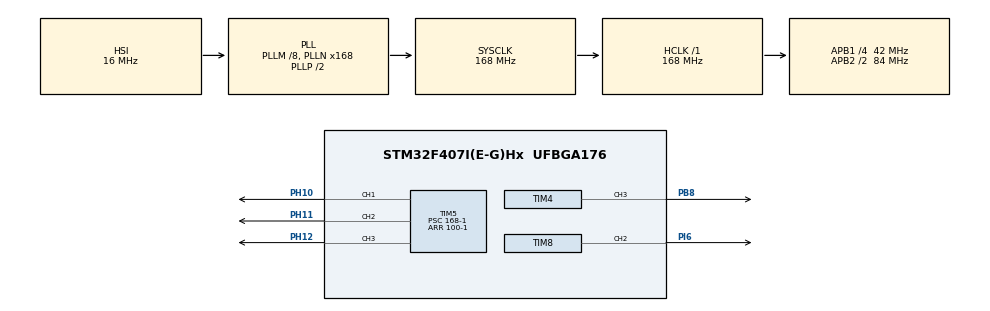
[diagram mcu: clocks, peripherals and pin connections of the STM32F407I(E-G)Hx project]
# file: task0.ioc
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FREERTOS.Tasks01=defaultTask,0,128,StartDefaultTask,Default,NULL,Dynamic,NULL,NULL;servoTask,0,512,servo_task,As external,NULL,Dynamic,NULL,NULL;lestask,-3,512,led_task,As external,NULL,Dynamic,NULL,NULL;motortask,0,512,motor_task,As external,NULL,Dynamic,NULL,NULL
Mcu.Family=STM32F4
Mcu.Name=STM32F407I(E-G)Hx
Mcu.Package=UFBGA176
NVIC.PriorityGroup=NVIC_PRIORITYGROUP_4
NVIC.TIM1_UP_TIM10_IRQn=true\:15\:0\:false\:false\:true\:false\:false\:true\:true
NVIC.TimeBase=TIM1_UP_TIM10_IRQn
NVIC.TimeBaseIP=TIM1
PA13.Mode=Serial_Wire
PA13.Signal=SYS_JTMS-SWDIO
PA14.Mode=Serial_Wire
PA14.Signal=SYS_JTCK-SWCLK
PB8.Signal=S_TIM4_CH3
PH0-OSC_IN.Mode=HSE-External-Oscillator
PH0-OSC_IN.Signal=RCC_OSC_IN
PH1-OSC_OUT.Mode=HSE-External-Oscillator
PH1-OSC_OUT.Signal=RCC_OSC_OUT
PH10.Signal=S_TIM5_CH1
PH11.Signal=S_TIM5_CH2
PH12.Signal=S_TIM5_CH3
PI6.Signal=S_TIM8_CH2
ProjectManager.HeapSize=0x200
ProjectManager.StackSize=0x400
ProjectManager.TargetToolchain=CMake
RCC.48MHZClocksFreq_Value=84000000
RCC.AHBFreq_Value=168000000
RCC.APB1CLKDivider=RCC_HCLK_DIV4
RCC.APB1Freq_Value=42000000
RCC.APB1TimFreq_Value=84000000
RCC.APB2CLKDivider=RCC_HCLK_DIV2
RCC.APB2Freq_Value=84000000
RCC.APB2TimFreq_Value=168000000
RCC.CortexFreq_Value=168000000
RCC.HCLKFreq_Value=168000000
RCC.HSE_VALUE=12000000
RCC.HSI_VALUE=16000000
RCC.PLLM=8
RCC.PLLN=168
RCC.SYSCLKFreq_VALUE=168000000
RCC.SYSCLKSource=RCC_SYSCLKSOURCE_PLLCLK
RCC.VCOOutputFreq_Value=336000000
SH.S_TIM4_CH3.0=TIM4_CH3,PWM Generation3 CH3
SH.S_TIM5_CH1.0=TIM5_CH1,PWM Generation1 CH1
SH.S_TIM5_CH2.0=TIM5_CH2,PWM Generation2 CH2
SH.S_TIM5_CH3.0=TIM5_CH3,PWM Generation3 CH3
SH.S_TIM8_CH2.0=TIM8_CH2,PWM Generation2 CH2
TIM4.Channel-PWM\ Generation3\ CH3=TIM_CHANNEL_3
TIM4.Period=500-1
TIM4.Prescaler=168-1
TIM5.Channel-PWM\ Generation1\ CH1=TIM_CHANNEL_1
TIM5.Channel-PWM\ Generation2\ CH2=TIM_CHANNEL_2
TIM5.Channel-PWM\ Generation3\ CH3=TIM_CHANNEL_3
TIM5.Period=100-1
TIM5.Prescaler=168-1
TIM8.Channel-PWM\ Generation2\ CH2=TIM_CHANNEL_2
TIM8.Period=2000-1
TIM8.Prescaler=1680-1
VP_FREERTOS_VS_CMSIS_V1.Mode=CMSIS_V1
VP_SYS_VS_tim1.Mode=TIM1
VP_TIM4_VS_ClockSourceINT.Mode=Internal
VP_TIM5_VS_ClockSourceINT.Mode=Internal
VP_TIM8_VS_ClockSourceINT.Mode=Internal
board=custom

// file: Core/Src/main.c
/* USER CODE BEGIN Header */
/**
  ******************************************************************************
  * @file           : main.c
  * @brief          : Main program body
  ******************************************************************************
  * @attention
  *
  * Copyright (c) 2025 STMicroelectronics.
  * All rights reserved.
  *
  * This software is licensed under terms that can be found in the LICENSE file
  * in the root directory of this software component.
  * If no LICENSE file comes with this software, it is provided AS-IS.
  *
  ******************************************************************************
  */
/* USER CODE END Header */
#include "main.h"
#include "cmsis_os.h"
#include "tim.h"
#include "gpio.h"

void SystemClock_Config(void);
void MX_FREERTOS_Init(void);

int main(void)
{

  /* MCU Configuration--------------------------------------------------------*/

  /* Reset of all peripherals, Initializes the Flash interface and the Systick. */
  HAL_Init();

  /* Configure the system clock */
  SystemClock_Config();

  /* Initialize all configured peripherals */
  MX_GPIO_Init();
  MX_TIM4_Init();
  MX_TIM5_Init();
  MX_TIM8_Init();
  /* USER CODE BEGIN 2 */

  HAL_TIM_PWM_Start(&htim4, TIM_CHANNEL_3);
  __HAL_TIM_SET_COMPARE(&htim4, TIM_CHANNEL_3, 500 / 5);
  HAL_Delay(200);
  __HAL_TIM_SET_COMPARE(&htim4, TIM_CHANNEL_3, 0);

  /* USER CODE END 2 */

  /* Call init function for freertos objects (in cmsis_os2.c) */
  MX_FREERTOS_Init();

  /* Start scheduler */
  osKernelStart();

  /* We should never get here as control is now taken by the scheduler */

  /* Infinite loop */
  while (1)
  {

  }
}

void SystemClock_Config(void)
{
  RCC_OscInitTypeDef RCC_OscInitStruct = {0};
  RCC_ClkInitTypeDef RCC_ClkInitStruct = {0};

  /** Configure the main internal regulator output voltage
  */
  __HAL_RCC_PWR_CLK_ENABLE();
  __HAL_PWR_VOLTAGESCALING_CONFIG(PWR_REGULATOR_VOLTAGE_SCALE1);

  /** Initializes the RCC Oscillators according to the specified parameters
  * in the RCC_OscInitTypeDef structure.
  */
  RCC_OscInitStruct.OscillatorType = RCC_OSCILLATORTYPE_HSI;
  RCC_OscInitStruct.HSIState = RCC_HSI_ON;
  RCC_OscInitStruct.HSICalibrationValue = RCC_HSICALIBRATION_DEFAULT;
  RCC_OscInitStruct.PLL.PLLState = RCC_PLL_ON;
  RCC_OscInitStruct.PLL.PLLSource = RCC_PLLSOURCE_HSI;
  RCC_OscInitStruct.PLL.PLLM = 8;
  RCC_OscInitStruct.PLL.PLLN = 168;
  RCC_OscInitStruct.PLL.PLLP = RCC_PLLP_DIV2;
  RCC_OscInitStruct.PLL.PLLQ = 4;
  if (HAL_RCC_OscConfig(&RCC_OscInitStruct) != HAL_OK)
  {
    Error_Handler();
  }

  /** Initializes the CPU, AHB and APB buses clocks
  */
  RCC_ClkInitStruct.ClockType = RCC_CLOCKTYPE_HCLK|RCC_CLOCKTYPE_SYSCLK
                              |RCC_CLOCKTYPE_PCLK1|RCC_CLOCKTYPE_PCLK2;
  RCC_ClkInitStruct.SYSCLKSource = RCC_SYSCLKSOURCE_PLLCLK;
  RCC_ClkInitStruct.AHBCLKDivider = RCC_SYSCLK_DIV1;
  RCC_ClkInitStruct.APB1CLKDivider = RCC_HCLK_DIV4;
  RCC_ClkInitStruct.APB2CLKDivider = RCC_HCLK_DIV2;

  if (HAL_RCC_ClockConfig(&RCC_ClkInitStruct, FLASH_LATENCY_5) != HAL_OK)
  {
    Error_Handler();
  }
}

/* USER CODE BEGIN 4 */

/* USER CODE BEGIN 4 */

void set_note_frequency(uint32_t freq) {
    uint32_t arr = (1000000 / freq) - 1;
    __HAL_TIM_SET_AUTORELOAD(&htim4, arr);
    __HAL_TIM_SET_COMPARE(&htim4, TIM_CHANNEL_3, 500 / 5);
}

void play_song1(void) {
    set_note_frequency(554); osDelay(400);
    set_note_frequency(622); osDelay(400);
    set_note_frequency(494); osDelay(400);
    set_note_frequency(494); osDelay(800);
    set_note_frequency(392); osDelay(400);
    set_note_frequency(494); osDelay(400);
    set_note_frequency(440); osDelay(400);
    set_note_frequency(415); osDelay(400);
    set_note_frequency(440); osDelay(400);
    set_note_frequency(415); osDelay(400);
    set_note_frequency(415); osDelay(800);
}

void play_song2(void) {
    set_note_frequency(494); osDelay(400);
    set_note_frequency(523); osDelay(400);
    set_note_frequency(587); osDelay(400);
    set_note_frequency(466); osDelay(400);
    set_note_frequency(466); osDelay(800);
    set_note_frequency(370); osDelay(400);
    set_note_frequency(440); osDelay(400);
    set_note_frequency(440); osDelay(400);
    set_note_frequency(494); osDelay(400);
    set_note_frequency(523); osDelay(400);
    set_note_frequency(554); osDelay(400);
    set_note_frequency(554); osDelay(800);
}

/* USER CODE END 4 */

/* USER CODE END 4 */

void HAL_TIM_PeriodElapsedCallback(TIM_HandleTypeDef *htim)
{
  if (htim->Instance == TIM1)
  {
    HAL_IncTick();
  }
}

void Error_Handler(void)
{
  __disable_irq();
  while (1)
  {
  }
}

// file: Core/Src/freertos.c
/* USER CODE BEGIN Header */
/**
  ******************************************************************************
  * File Name          : freertos.c
  * Description        : Code for freertos applications
  ******************************************************************************
  * @attention
  *
  * Copyright (c) 2025 STMicroelectronics.
  * All rights reserved.
  *
  * This software is licensed under terms that can be found in the LICENSE file
  * in the root directory of this software component.
  * If no LICENSE file comes with this software, it is provided AS-IS.
  *
  ******************************************************************************
  */
/* USER CODE END Header */

#include "FreeRTOS.h"
#include "task.h"
#include "main.h"
#include "cmsis_os.h"

osThreadId defaultTaskHandle;
osThreadId servoTaskHandle;
osThreadId lestaskHandle;
osThreadId motortaskHandle;

void StartDefaultTask(void const * argument);
extern void servo_task(void const * argument);
extern void led_task(void const * argument);
extern void motor_task(void const * argument);

void MX_FREERTOS_Init(void); /* (MISRA C 2004 rule 8.1) */

/* GetIdleTaskMemory prototype (linked to static allocation support) */
void vApplicationGetIdleTaskMemory( StaticTask_t **ppxIdleTaskTCBBuffer, StackType_t **ppxIdleTaskStackBuffer, uint32_t *pulIdleTaskStackSize );

/* USER CODE BEGIN GET_IDLE_TASK_MEMORY */
static StaticTask_t xIdleTaskTCBBuffer;
static StackType_t xIdleStack[configMINIMAL_STACK_SIZE];

void vApplicationGetIdleTaskMemory( StaticTask_t **ppxIdleTaskTCBBuffer, StackType_t **ppxIdleTaskStackBuffer, uint32_t *pulIdleTaskStackSize )
{
  *ppxIdleTaskTCBBuffer = &xIdleTaskTCBBuffer;
  *ppxIdleTaskStackBuffer = &xIdleStack[0];
  *pulIdleTaskStackSize = configMINIMAL_STACK_SIZE;
  /* place for user code */
}
/* USER CODE END GET_IDLE_TASK_MEMORY */

void MX_FREERTOS_Init(void) {

  /* Create the thread(s) */
  /* definition and creation of defaultTask */
  osThreadDef(defaultTask, StartDefaultTask, osPriorityNormal, 0, 128);
  defaultTaskHandle = osThreadCreate(osThread(defaultTask), NULL);

  /* definition and creation of servoTask */
  osThreadDef(servoTask, servo_task, osPriorityNormal, 0, 512);
  servoTaskHandle = osThreadCreate(osThread(servoTask), NULL);

  /* definition and creation of lestask */
  osThreadDef(lestask, led_task, osPriorityIdle, 0, 512);
  lestaskHandle = osThreadCreate(osThread(lestask), NULL);

  /* definition and creation of motortask */
  osThreadDef(motortask, motor_task, osPriorityNormal, 0, 512);
  motortaskHandle = osThreadCreate(osThread(motortask), NULL);

}

void StartDefaultTask(void const * argument)
{
  for(;;)
  {
    osDelay(1);
  }
}
